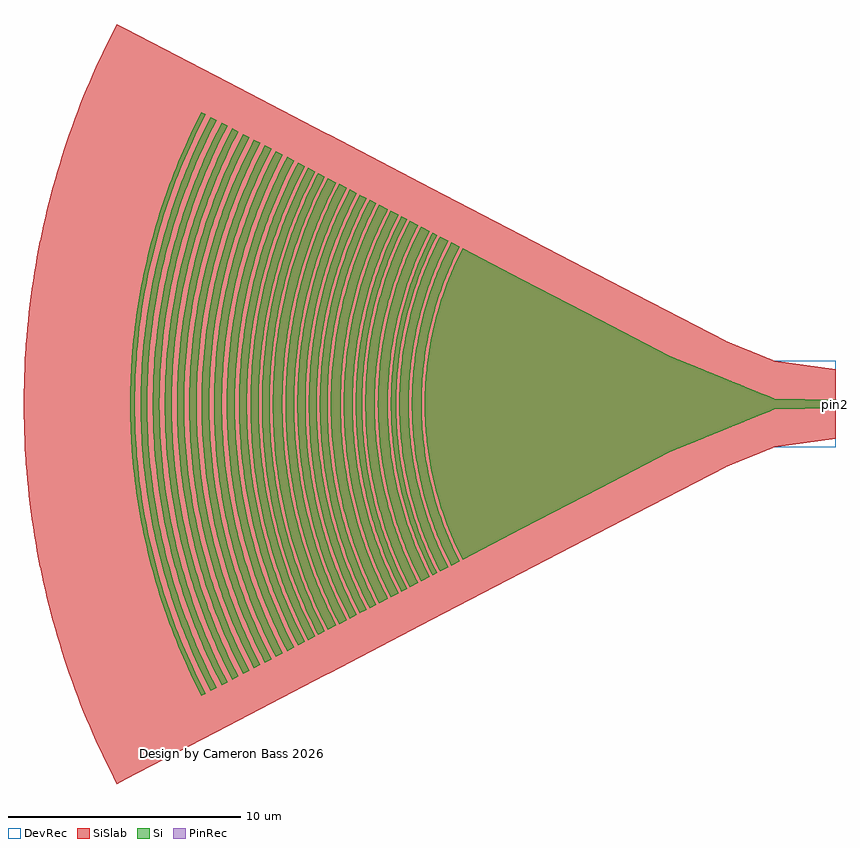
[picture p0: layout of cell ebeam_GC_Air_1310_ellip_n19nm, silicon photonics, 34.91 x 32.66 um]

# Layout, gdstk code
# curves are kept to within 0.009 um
import gdstk
lib = gdstk.Library(unit=1e-6, precision=1e-09)
def P(c, l, *ps):  # polygons
    for p in ps: c.add(gdstk.Polygon(p, *l))
Si = (1, 0)
PinRec = (1, 10)
SiSlab = (2, 0)
DevRec = (68, 0)

ebeam_gc_air_1310_ellip_ = lib.new_cell('ebeam_GC_Air_1310_ellip_n19nm')
P(ebeam_gc_air_1310_ellip_, Si, [(-16.04,-6.69),(-16.45,-5.832),(-16.766,-5.046),(-16.995,-4.378),(-17.26,-3.426),(-17.435,-2.598),(-17.562,-1.761),(-17.64,-0.917),(-17.668,-0.071),(-17.648,0.776),(-17.578,1.621),(-17.459,2.459),(-17.293,3.29),(-17.077,4.108),(-16.766,5.046),(-16.45,5.832),(-16.04,6.69),(-7.159,2.066),(-3.161,0.434),(-2.884,0.332),(-2.699,0.244),(-2.652,0.231),(0,0.175),(0,-0.175),(-2.665,-0.233),(-7.099,-2.039)],
  [(-16.532,-6.945),(-16.896,-6.191),(-17.232,-5.378),(-17.521,-4.547),(-17.761,-3.701),(-17.951,-2.842),(-18.091,-1.973),(-18.19,-0.953),(-18.22,-0.073),(-18.199,0.806),(-18.109,1.829),(-17.978,2.698),(-17.796,3.559),(-17.687,3.985),(-17.521,4.547),(-17.232,5.378),(-16.896,6.191),(-16.532,6.946),(-16.163,6.754),(-16.518,6.018),(-16.896,5.095),(-17.168,4.285),(-17.393,3.46),(-17.571,2.623),(-17.699,1.777),(-17.786,0.784),(-17.806,0.071),(-17.793,-0.641),(-17.731,-1.494),(-17.596,-2.482),(-17.427,-3.32),(-17.209,-4.147),(-16.896,-5.095),(-16.518,-6.018),(-16.163,-6.754)],
  [(-17.013,-7.196),(-17.39,-6.415),(-17.738,-5.573),(-18.037,-4.712),(-18.286,-3.835),(-18.51,-2.796),(-18.646,-1.895),(-18.73,-0.987),(-18.761,-0.076),(-18.739,0.835),(-18.664,1.744),(-18.607,2.196),(-18.51,2.796),(-18.322,3.688),(-18.082,4.566),(-17.791,5.431),(-17.451,6.277),(-17.013,7.196),(-16.654,7.01),(-17.081,6.113),(-17.413,5.29),(-17.696,4.448),(-17.93,3.591),(-18.114,2.723),(-18.247,1.845),(-18.328,0.961),(-18.358,0.074),(-18.337,-0.813),(-18.264,-1.698),(-18.14,-2.577),(-17.965,-3.447),(-17.696,-4.448),(-17.413,-5.29),(-17.081,-6.113),(-16.654,-7.01)],
  [(-17.333,-7.363),(-17.719,-6.563),(-18.075,-5.702),(-18.381,-4.821),(-18.636,-3.924),(-18.837,-3.013),(-18.918,-2.554),(-19.005,-1.939),(-19.091,-1.01),(-19.122,-0.078),(-19.1,0.855),(-19.005,1.939),(-18.865,2.861),(-18.673,3.774),(-18.427,4.673),(-18.13,5.556),(-17.962,5.992),(-17.719,6.564),(-17.333,7.363),(-17.136,7.26),(-17.577,6.332),(-17.921,5.479),(-18.214,4.608),(-18.381,4.018),(-18.526,3.422),(-18.698,2.519),(-18.818,1.607),(-18.877,0.843),(-18.899,0.077),(-18.877,-0.843),(-18.818,-1.607),(-18.722,-2.367),(-18.558,-3.272),(-18.3,-4.313),(-18.122,-4.9),(-17.973,-5.334),(-17.812,-5.765),(-17.577,-6.332),(-17.136,-7.26)],
  [(-17.829,-7.621),(-18.293,-6.646),(-18.653,-5.751),(-18.961,-4.836),(-19.215,-3.905),(-19.414,-2.96),(-19.558,-2.007),(-19.647,-1.045),(-19.68,-0.08),(-19.656,0.885),(-19.577,1.847),(-19.442,2.803),(-19.215,3.905),(-18.961,4.836),(-18.653,5.751),(-18.479,6.202),(-18.228,6.794),(-17.829,7.621),(-17.456,7.427),(-17.908,6.478),(-18.204,5.752),(-18.513,4.863),(-18.769,3.959),(-18.878,3.5),(-19.002,2.885),(-19.142,1.955),(-19.206,1.332),(-19.238,0.862),(-19.26,0.078),(-19.238,-0.862),(-19.16,-1.799),(-19.029,-2.731),(-18.843,-3.653),(-18.604,-4.563),(-18.416,-5.161),(-18.259,-5.605),(-17.908,-6.478),(-17.456,-7.427)],
  [(-18.309,-7.871),(-18.583,-7.318),(-18.789,-6.863),(-19.16,-5.939),(-19.479,-4.994),(-19.741,-4.032),(-19.946,-3.058),(-20.096,-2.072),(-20.187,-1.08),(-20.221,-0.083),(-20.197,0.914),(-20.115,1.907),(-20.003,2.73),(-19.78,3.872),(-19.617,4.516),(-19.479,4.994),(-19.16,5.939),(-18.789,6.864),(-18.583,7.318),(-18.309,7.871),(-17.953,7.686),(-18.355,6.851),(-18.548,6.404),(-18.784,5.8),(-19.094,4.878),(-19.35,3.938),(-19.552,2.985),(-19.697,2.023),(-19.787,1.054),(-19.82,0.081),(-19.796,-0.892),(-19.716,-1.862),(-19.58,-2.826),(-19.388,-3.78),(-19.141,-4.721),(-18.997,-5.187),(-18.784,-5.8),(-18.548,-6.403),(-18.355,-6.851),(-17.953,-7.686)],
  [(-18.671,-8.059),(-19.094,-7.182),(-19.484,-6.239),(-19.819,-5.275),(-20.011,-4.623),(-20.138,-4.128),(-20.348,-3.131),(-20.501,-2.121),(-20.595,-1.105),(-20.629,-0.085),(-20.605,0.935),(-20.521,1.953),(-20.378,2.963),(-20.25,3.631),(-20.138,4.128),(-19.869,5.114),(-19.658,5.76),(-19.484,6.239),(-19.094,7.182),(-18.671,8.059),(-18.432,7.936),(-18.708,7.377),(-18.915,6.92),(-19.172,6.301),(-19.348,5.83),(-19.511,5.355),(-19.705,4.714),(-19.835,4.229),(-19.987,3.576),(-20.166,2.587),(-20.271,1.756),(-20.336,0.921),(-20.36,0.084),(-20.336,-0.921),(-20.271,-1.756),(-20.166,-2.587),(-20.021,-3.412),(-19.915,-3.902),(-19.75,-4.552),(-19.562,-5.195),(-19.404,-5.672),(-19.172,-6.3),(-18.982,-6.765),(-18.708,-7.377),(-18.432,-7.935)],
  [(-19.129,-8.298),(-19.565,-7.395),(-19.839,-6.75),(-20.028,-6.26),(-20.363,-5.264),(-20.64,-4.25),(-20.856,-3.223),(-21.014,-2.184),(-21.11,-1.138),(-21.146,-0.088),(-21.136,0.613),(-21.11,1.138),(-21.014,2.184),(-20.856,3.223),(-20.64,4.251),(-20.363,5.264),(-20.028,6.26),(-19.636,7.235),(-19.419,7.713),(-19.129,8.298),(-18.795,8.124),(-19.221,7.24),(-19.49,6.608),(-19.674,6.129),(-20.002,5.154),(-20.273,4.161),(-20.486,3.155),(-20.64,2.138),(-20.734,1.114),(-20.769,0.086),(-20.744,-0.943),(-20.66,-1.968),(-20.516,-2.986),(-20.422,-3.492),(-20.273,-4.161),(-20.002,-5.154),(-19.674,-6.129),(-19.29,-7.083),(-19.078,-7.551),(-18.795,-8.124)],
  [(-19.628,-8.558),(-20.076,-7.628),(-20.49,-6.627),(-20.845,-5.603),(-21.141,-4.56),(-21.374,-3.502),(-21.547,-2.432),(-21.657,-1.354),(-21.688,-0.813),(-21.706,-0.09),(-21.68,0.993),(-21.59,2.074),(-21.439,3.147),(-21.303,3.856),(-21.184,4.386),(-20.899,5.43),(-20.675,6.118),(-20.49,6.627),(-20.076,7.628),(-19.628,8.558),(-19.253,8.363),(-19.544,7.773),(-19.763,7.291),(-20.097,6.474),(-20.277,5.976),(-20.496,5.306),(-20.732,4.455),(-20.961,3.422),(-21.13,2.376),(-21.208,1.675),(-21.249,1.146),(-21.285,0.088),(-21.28,-0.441),(-21.249,-1.146),(-21.152,-2.2),(-20.994,-3.247),(-20.774,-4.283),(-20.496,-5.305),(-20.334,-5.809),(-20.097,-6.474),(-19.763,-7.291),(-19.253,-8.363)],
  [(-20.043,-8.774),(-20.349,-8.155),(-20.579,-7.648),(-20.993,-6.618),(-21.347,-5.565),(-21.64,-4.494),(-21.869,-3.408),(-22.035,-2.309),(-22.137,-1.203),(-22.175,-0.093),(-22.148,1.018),(-22.057,2.125),(-21.987,2.676),(-21.869,3.408),(-21.64,4.495),(-21.347,5.566),(-20.993,6.618),(-20.579,7.649),(-20.349,8.155),(-20.043,8.774),(-19.755,8.624),(-20.28,7.52),(-20.492,7.016),(-20.75,6.335),(-20.982,5.646),(-21.138,5.122),(-21.279,4.595),(-21.444,3.886),(-21.61,2.991),(-21.733,2.089),(-21.823,1.001),(-21.849,0.091),(-21.839,-0.637),(-21.77,-1.727),(-21.665,-2.631),(-21.481,-3.707),(-21.365,-4.24),(-21.187,-4.947),(-20.982,-5.645),(-20.75,-6.335),(-20.492,-7.015),(-20.28,-7.519),(-20.054,-8.016),(-19.755,-8.624)],
  [(-20.463,-8.993),(-20.937,-8.011),(-21.163,-7.489),(-21.372,-6.959),(-21.745,-5.884),(-22.056,-4.789),(-22.226,-4.05),(-22.336,-3.491),(-22.506,-2.366),(-22.611,-1.233),(-22.65,-0.095),(-22.622,1.043),(-22.528,2.178),(-22.369,3.305),(-22.265,3.864),(-22.101,4.606),(-21.801,5.704),(-21.628,6.245),(-21.372,6.959),(-21.163,7.489),(-20.937,8.011),(-20.463,8.993),(-20.167,8.839),(-20.475,8.214),(-20.78,7.533),(-21.059,6.842),(-21.25,6.315),(-21.425,5.785),(-21.635,5.069),(-21.819,4.345),(-21.937,3.799),(-22.098,2.88),(-22.215,1.955),(-22.287,1.025),(-22.314,0.093),(-22.296,-0.839),(-22.233,-1.77),(-22.125,-2.696),(-21.937,-3.799),(-21.819,-4.345),(-21.635,-5.069),(-21.425,-5.785),(-21.25,-6.315),(-20.992,-7.015),(-20.78,-7.533),(-20.475,-8.214),(-20.167,-8.839)],
  [(-20.898,-9.219),(-21.385,-8.209),(-21.83,-7.132),(-22.03,-6.584),(-22.213,-6.03),(-22.532,-4.908),(-22.706,-4.15),(-22.819,-3.577),(-22.994,-2.425),(-23.101,-1.263),(-23.14,-0.097),(-23.135,0.486),(-23.101,1.263),(-22.994,2.425),(-22.819,3.578),(-22.578,4.72),(-22.271,5.845),(-21.899,6.95),(-21.464,8.032),(-21.222,8.563),(-20.898,9.219),(-20.591,9.059),(-20.909,8.415),(-21.221,7.718),(-21.507,7.009),(-21.703,6.47),(-21.883,5.926),(-22.098,5.193),(-22.286,4.451),(-22.407,3.892),(-22.572,2.951),(-22.692,2.003),(-22.766,1.051),(-22.794,0.096),(-22.775,-0.86),(-22.711,-1.813),(-22.6,-2.762),(-22.407,-3.892),(-22.286,-4.451),(-22.098,-5.193),(-21.883,-5.926),(-21.703,-6.47),(-21.507,-7.009),(-21.221,-7.717),(-20.909,-8.415),(-20.591,-9.059)],
  [(-21.349,-9.454),(-21.682,-8.782),(-21.929,-8.236),(-22.375,-7.127),(-22.757,-5.993),(-23.072,-4.839),(-23.319,-3.669),(-23.498,-2.487),(-23.608,-1.295),(-23.648,-0.1),(-23.643,0.498),(-23.608,1.296),(-23.498,2.487),(-23.319,3.669),(-23.072,4.84),(-22.757,5.994),(-22.375,7.128),(-21.929,8.237),(-21.682,8.782),(-21.349,9.454),(-21.021,9.283),(-21.263,8.799),(-21.59,8.088),(-21.818,7.546),(-22.096,6.814),(-22.346,6.072),(-22.514,5.509),(-22.712,4.752),(-22.883,3.988),(-23.052,3.024),(-23.175,2.052),(-23.251,1.076),(-23.279,0.098),(-23.26,-0.881),(-23.194,-1.858),(-23.081,-2.83),(-22.883,-3.987),(-22.712,-4.751),(-22.514,-5.509),(-22.346,-6.072),(-22.096,-6.814),(-21.818,-7.546),(-21.59,-8.088),(-21.347,-8.622),(-21.021,-9.283)],
  [(-21.837,-9.707),(-22.089,-9.204),(-22.431,-8.459),(-22.592,-8.083),(-22.889,-7.319),(-23.094,-6.741),(-23.281,-6.155),(-23.452,-5.565),(-23.605,-4.97),(-23.858,-3.768),(-23.959,-3.162),(-24.042,-2.554),(-24.155,-1.33),(-24.185,-0.716),(-24.196,-0.102),(-24.167,1.126),(-24.066,2.351),(-23.959,3.162),(-23.858,3.768),(-23.605,4.971),(-23.452,5.566),(-23.281,6.156),(-23.094,6.741),(-22.889,7.32),(-22.592,8.083),(-22.431,8.459),(-22.177,9.019),(-21.837,9.708),(-21.472,9.518),(-21.807,8.841),(-22.055,8.293),(-22.506,7.176),(-22.889,6.035),(-23.206,4.873),(-23.34,4.285),(-23.456,3.694),(-23.636,2.503),(-23.7,1.905),(-23.746,1.304),(-23.787,0.1),(-23.768,-0.903),(-23.7,-1.905),(-23.554,-3.1),(-23.38,-4.089),(-23.253,-4.677),(-23.056,-5.455),(-22.83,-6.226),(-22.641,-6.797),(-22.363,-7.551),(-22.135,-8.108),(-21.807,-8.841),(-21.472,-9.518)],
  [(-22.251,-9.923),(-22.774,-8.837),(-23.254,-7.677),(-23.468,-7.088),(-23.728,-6.291),(-24.059,-5.08),(-24.317,-3.852),(-24.42,-3.232),(-24.505,-2.61),(-24.621,-1.36),(-24.663,-0.105),(-24.657,0.524),(-24.633,1.151),(-24.53,2.402),(-24.451,3.025),(-24.354,3.646),(-24.239,4.263),(-24.059,5.08),(-23.728,6.292),(-23.536,6.89),(-23.254,7.677),(-23.022,8.262),(-22.774,8.838),(-22.251,9.923),(-21.96,9.772),(-22.302,9.078),(-22.557,8.516),(-22.873,7.754),(-23.09,7.174),(-23.29,6.59),(-23.529,5.801),(-23.689,5.204),(-23.876,4.4),(-23.995,3.793),(-24.096,3.183),(-24.225,2.161),(-24.305,1.133),(-24.335,0.103),(-24.305,-1.133),(-24.225,-2.161),(-24.096,-3.183),(-23.995,-3.793),(-23.876,-4.4),(-23.689,-5.204),(-23.529,-5.8),(-23.29,-6.589),(-23.09,-7.174),(-22.797,-7.945),(-22.557,-8.515),(-22.302,-9.078),(-21.96,-9.772)],
  [(-22.685,-10.149),(-22.951,-9.619),(-23.222,-9.036),(-23.476,-8.447),(-23.713,-7.85),(-23.932,-7.247),(-24.134,-6.637),(-24.376,-5.816),(-24.536,-5.194),(-24.677,-4.568),(-24.8,-3.939),(-24.906,-3.305),(-24.993,-2.669),(-25.061,-2.03),(-25.111,-1.39),(-25.142,-0.749),(-25.154,-0.107),(-25.148,0.536),(-25.123,1.177),(-25.08,1.817),(-25.018,2.456),(-24.937,3.093),(-24.838,3.728),(-24.677,4.568),(-24.536,5.194),(-24.376,5.816),(-24.197,6.433),(-24.001,7.045),(-23.788,7.65),(-23.557,8.249),(-23.309,8.841),(-22.951,9.619),(-22.685,10.149),(-22.377,9.989),(-22.728,9.278),(-22.989,8.703),(-23.312,7.924),(-23.533,7.332),(-23.802,6.534),(-23.982,5.928),(-24.146,5.318),(-24.337,4.497),(-24.529,3.462),(-24.672,2.418),(-24.763,1.368),(-24.794,0.738),(-24.806,0.105),(-24.786,-0.948),(-24.694,-2.208),(-24.562,-3.253),(-24.337,-4.497),(-24.146,-5.318),(-23.982,-5.928),(-23.802,-6.534),(-23.533,-7.332),(-23.312,-7.924),(-22.989,-8.703),(-22.728,-9.278),(-22.377,-9.989)],
  [(-23.117,-10.374),(-23.392,-9.826),(-23.669,-9.231),(-24.171,-8.019),(-24.395,-7.403),(-24.602,-6.78),(-24.79,-6.152),(-24.96,-5.518),(-25.063,-5.094),(-25.243,-4.238),(-25.357,-3.592),(-25.452,-2.943),(-25.528,-2.292),(-25.6,-1.42),(-25.632,-0.765),(-25.644,-0.109),(-25.638,0.547),(-25.613,1.202),(-25.568,1.857),(-25.505,2.509),(-25.422,3.16),(-25.283,4.024),(-25.012,5.307),(-24.848,5.942),(-24.666,6.572),(-24.466,7.197),(-24.248,7.815),(-23.758,9.031),(-23.487,9.629),(-23.117,10.374),(-22.825,10.223),(-23.186,9.49),(-23.453,8.902),(-23.784,8.106),(-24.01,7.5),(-24.285,6.684),(-24.47,6.064),(-24.637,5.44),(-24.833,4.6),(-25.03,3.541),(-25.123,2.902),(-25.198,2.259),(-25.281,1.185),(-25.313,0.108),(-25.292,-0.97),(-25.198,-2.259),(-25.03,-3.541),(-24.833,-4.6),(-24.637,-5.44),(-24.47,-6.064),(-24.285,-6.684),(-24.01,-7.5),(-23.784,-8.106),(-23.453,-8.902),(-23.186,-9.49),(-22.825,-10.222)],
  [(-23.586,-10.619),(-23.871,-10.051),(-24.155,-9.443),(-24.42,-8.827),(-24.668,-8.203),(-24.898,-7.573),(-25.109,-6.936),(-25.302,-6.293),(-25.476,-5.645),(-25.63,-4.992),(-25.806,-4.116),(-25.917,-3.453),(-26.008,-2.789),(-26.079,-2.121),(-26.131,-1.453),(-26.164,-0.782),(-26.177,-0.112),(-26.17,0.56),(-26.144,1.23),(-26.099,1.899),(-26.034,2.567),(-25.949,3.232),(-25.845,3.896),(-25.677,4.774),(-25.529,5.429),(-25.362,6.078),(-25.175,6.722),(-24.97,7.362),(-24.747,7.994),(-24.505,8.62),(-24.246,9.238),(-23.968,9.85),(-23.586,10.619),(-23.283,10.461),(-23.656,9.706),(-23.929,9.105),(-24.186,8.495),(-24.499,7.671),(-24.713,7.046),(-24.97,6.202),(-25.141,5.564),(-25.341,4.705),(-25.543,3.621),(-25.692,2.529),(-25.755,1.872),(-25.8,1.212),(-25.832,0.11),(-25.811,-0.992),(-25.773,-1.651),(-25.715,-2.31),(-25.577,-3.404),(-25.341,-4.705),(-25.141,-5.564),(-24.97,-6.202),(-24.713,-7.045),(-24.499,-7.67),(-24.186,-8.495),(-23.929,-9.105),(-23.656,-9.706),(-23.283,-10.461)],
  [(-24.069,-10.87),(-24.364,-10.283),(-24.654,-9.66),(-24.926,-9.03),(-25.18,-8.392),(-25.415,-7.748),(-25.699,-6.877),(-25.89,-6.218),(-26.061,-5.553),(-26.212,-4.884),(-26.345,-4.211),(-26.458,-3.533),(-26.551,-2.853),(-26.624,-2.17),(-26.677,-1.486),(-26.711,-0.8),(-26.724,-0.114),(-26.717,0.573),(-26.691,1.258),(-26.644,1.943),(-26.551,2.854),(-26.458,3.533),(-26.345,4.211),(-26.212,4.884),(-26.061,5.554),(-25.89,6.218),(-25.699,6.878),(-25.415,7.748),(-25.18,8.392),(-24.926,9.031),(-24.654,9.66),(-24.364,10.283),(-24.069,10.87),(-23.771,10.715),(-24.345,9.526),(-24.614,8.904),(-24.943,8.065),(-25.239,7.212),(-25.44,6.565),(-25.621,5.914),(-25.835,5.036),(-25.971,4.374),(-26.089,3.707),(-26.242,2.589),(-26.34,1.465),(-26.373,0.79),(-26.386,0.113),(-26.364,-1.015),(-26.266,-2.365),(-26.124,-3.484),(-26.013,-4.151),(-25.882,-4.816),(-25.732,-5.476),(-25.502,-6.348),(-25.308,-6.997),(-25.02,-7.852),(-24.783,-8.486),(-24.436,-9.32),(-24.059,-10.139),(-23.771,-10.715)],
  [(-24.539,-11.115),(-24.843,-10.511),(-25.14,-9.874),(-25.418,-9.23),(-25.677,-8.578),(-25.918,-7.919),(-26.139,-7.253),(-26.403,-6.356),(-26.579,-5.676),(-26.733,-4.992),(-26.869,-4.304),(-26.984,-3.611),(-27.079,-2.917),(-27.154,-2.218),(-27.209,-1.519),(-27.243,-0.818),(-27.256,-0.117),(-27.243,0.818),(-27.209,1.52),(-27.154,2.219),(-27.079,2.917),(-26.984,3.611),(-26.869,4.304),(-26.733,4.992),(-26.579,5.676),(-26.403,6.356),(-26.139,7.253),(-25.918,7.919),(-25.677,8.578),(-25.419,9.231),(-25.14,9.874),(-24.843,10.511),(-24.539,11.115),(-24.252,10.966),(-24.65,10.163),(-24.937,9.533),(-25.206,8.894),(-25.534,8.031),(-25.829,7.157),(-26.027,6.494),(-26.207,5.825),(-26.416,4.926),(-26.628,3.792),(-26.784,2.648),(-26.885,1.499),(-26.918,0.808),(-26.931,0.115),(-26.925,-0.576),(-26.898,-1.269),(-26.808,-2.419),(-26.728,-3.106),(-26.628,-3.792),(-26.416,-4.926),(-26.207,-5.825),(-26.027,-6.493),(-25.829,-7.157),(-25.534,-8.031),(-25.206,-8.894),(-24.937,-9.533),(-24.65,-10.163),(-24.252,-10.966)],
  [(-25.012,-11.361),(-25.324,-10.741),(-25.628,-10.091),(-25.911,-9.433),(-26.177,-8.766),(-26.422,-8.093),(-26.648,-7.412),(-26.855,-6.725),(-27.041,-6.032),(-27.256,-5.101),(-27.395,-4.398),(-27.512,-3.69),(-27.61,-2.981),(-27.686,-2.267),(-27.742,-1.553),(-27.777,-0.836),(-27.791,-0.12),(-27.784,0.597),(-27.756,1.314),(-27.707,2.029),(-27.638,2.743),(-27.547,3.454),(-27.395,4.398),(-27.256,5.102),(-27.098,5.801),(-26.919,6.495),(-26.719,7.184),(-26.5,7.867),(-26.177,8.766),(-25.911,9.433),(-25.628,10.091),(-25.324,10.741),(-25.012,11.361),(-24.732,11.216),(-25.141,10.391),(-25.434,9.747),(-25.709,9.094),(-25.964,8.435),(-26.2,7.767),(-26.484,6.866),(-26.674,6.185),(-26.897,5.267),(-27.125,4.11),(-27.234,3.411),(-27.323,2.708),(-27.392,2.004),(-27.44,1.297),(-27.474,0.118),(-27.467,-0.589),(-27.44,-1.297),(-27.348,-2.473),(-27.2,-3.644),(-27.084,-4.342),(-26.947,-5.037),(-26.733,-5.956),(-26.549,-6.639),(-26.274,-7.543),(-26.045,-8.212),(-25.709,-9.094),(-25.434,-9.747),(-25.141,-10.391),(-24.732,-11.215)],
  [(-25.474,-11.601),(-25.793,-10.967),(-26.103,-10.303),(-26.392,-9.631),(-26.663,-8.95),(-26.914,-8.263),(-27.145,-7.568),(-27.356,-6.867),(-27.546,-6.159),(-27.766,-5.209),(-27.907,-4.49),(-28.028,-3.768),(-28.127,-3.043),(-28.205,-2.315),(-28.262,-1.585),(-28.297,-0.854),(-28.312,-0.122),(-28.297,0.854),(-28.262,1.585),(-28.205,2.315),(-28.127,3.043),(-28.028,3.768),(-27.907,4.491),(-27.766,5.209),(-27.604,5.923),(-27.421,6.632),(-27.218,7.334),(-26.994,8.032),(-26.749,8.722),(-26.485,9.405),(-26.202,10.08),(-25.793,10.967),(-25.474,11.601),(-25.206,11.462),(-25.625,10.618),(-25.924,9.96),(-26.205,9.293),(-26.466,8.619),(-26.783,7.707),(-26.997,7.016),(-27.192,6.32),(-27.42,5.382),(-27.566,4.674),(-27.692,3.962),(-27.855,2.767),(-27.925,2.048),(-27.974,1.326),(-28.009,0.121),(-27.986,-1.085),(-27.944,-1.806),(-27.881,-2.527),(-27.797,-3.245),(-27.692,-3.961),(-27.566,-4.673),(-27.42,-5.382),(-27.192,-6.319),(-26.997,-7.016),(-26.783,-7.707),(-26.549,-8.391),(-26.295,-9.069),(-25.924,-9.96),(-25.625,-10.618),(-25.206,-11.462)],
  [(-25.939,-11.843),(-26.265,-11.195),(-26.582,-10.517),(-26.877,-9.832),(-27.154,-9.137),(-27.41,-8.435),(-27.646,-7.725),(-27.861,-7.01),(-28.055,-6.287),(-28.279,-5.317),(-28.424,-4.583),(-28.546,-3.846),(-28.648,-3.106),(-28.728,-2.363),(-28.786,-1.618),(-28.822,-0.871),(-28.836,-0.125),(-28.822,0.871),(-28.786,1.618),(-28.728,2.363),(-28.648,3.107),(-28.546,3.847),(-28.424,4.583),(-28.279,5.317),(-28.114,6.046),(-27.928,6.77),(-27.72,7.487),(-27.491,8.199),(-27.242,8.903),(-26.972,9.601),(-26.582,10.517),(-26.265,11.195),(-25.939,11.844),(-25.676,11.707),(-25.998,11.066),(-26.41,10.172),(-26.697,9.49),(-26.964,8.802),(-27.21,8.105),(-27.506,7.165),(-27.766,6.216),(-27.937,5.496),(-28.175,4.288),(-28.289,3.559),(-28.382,2.826),(-28.454,2.091),(-28.504,1.354),(-28.54,0.123),(-28.532,-0.615),(-28.504,-1.354),(-28.408,-2.581),(-28.253,-3.802),(-28.132,-4.53),(-27.99,-5.256),(-27.766,-6.215),(-27.575,-6.928),(-27.287,-7.871),(-27.048,-8.569),(-26.697,-9.49),(-26.41,-10.171),(-25.998,-11.065),(-25.676,-11.707)],
  [(-26.398,-12.082),(-26.731,-11.42),(-27.054,-10.729),(-27.355,-10.029),(-27.637,-9.32),(-27.899,-8.604),(-28.139,-7.88),(-28.358,-7.15),(-28.556,-6.414),(-28.785,-5.424),(-28.933,-4.675),(-29.058,-3.924),(-29.161,-3.169),(-29.243,-2.41),(-29.302,-1.651),(-29.339,-0.889),(-29.354,-0.127),(-29.346,0.636),(-29.317,1.397),(-29.265,2.158),(-29.191,2.917),(-29.095,3.672),(-28.977,4.426),(-28.837,5.175),(-28.617,6.168),(-28.427,6.906),(-28.215,7.638),(-27.981,8.364),(-27.727,9.082),(-27.452,9.794),(-27.054,10.729),(-26.731,11.42),(-26.398,12.082),(-26.145,11.951),(-26.583,11.069),(-26.895,10.383),(-27.281,9.454),(-27.546,8.749),(-27.79,8.035),(-28.084,7.073),(-28.279,6.345),(-28.454,5.611),(-28.607,4.873),(-28.738,4.13),(-28.908,2.885),(-29.018,1.633),(-29.054,0.88),(-29.069,0.126),(-29.061,-0.628),(-29.032,-1.382),(-28.935,-2.635),(-28.847,-3.383),(-28.738,-4.13),(-28.607,-4.873),(-28.454,-5.611),(-28.279,-6.345),(-28.014,-7.314),(-27.711,-8.273),(-27.46,-8.984),(-27.188,-9.687),(-26.895,-10.383),(-26.583,-11.069),(-26.145,-11.951)],
  [(-26.868,-12.327),(-27.313,-11.431),(-27.635,-10.722),(-27.936,-10.004),(-28.217,-9.277),(-28.476,-8.544),(-28.714,-7.802),(-28.93,-7.054),(-29.125,-6.299),(-29.296,-5.54),(-29.446,-4.777),(-29.574,-4.008),(-29.68,-3.237),(-29.762,-2.462),(-29.823,-1.686),(-29.861,-0.908),(-29.876,-0.13),(-29.861,0.908),(-29.823,1.686),(-29.762,2.462),(-29.68,3.237),(-29.574,4.008),(-29.446,4.777),(-29.296,5.541),(-29.125,6.299),(-28.93,7.054),(-28.714,7.802),(-28.476,8.544),(-28.217,9.278),(-27.936,10.004),(-27.635,10.722),(-27.313,11.431),(-26.868,12.328),(-26.612,12.195),(-27.059,11.294),(-27.378,10.594),(-27.677,9.884),(-27.954,9.167),(-28.211,8.441),(-28.519,7.462),(-28.726,6.722),(-28.968,5.725),(-29.216,4.466),(-29.335,3.707),(-29.432,2.943),(-29.506,2.178),(-29.558,1.41),(-29.596,0.128),(-29.571,-1.154),(-29.526,-1.921),(-29.459,-2.688),(-29.298,-3.96),(-29.171,-4.719),(-29.023,-5.474),(-28.79,-6.473),(-28.59,-7.216),(-28.37,-7.954),(-28.042,-8.925),(-27.772,-9.646),(-27.378,-10.594),(-27.059,-11.294),(-26.612,-12.194)],
  [(-27.266,-12.535),(-27.612,-11.845),(-27.947,-11.128),(-28.259,-10.403),(-28.551,-9.667),(-28.808,-8.966),(-29.071,-8.174),(-29.298,-7.417),(-29.503,-6.653),(-29.795,-5.368),(-29.939,-4.591),(-30.097,-3.548),(-30.214,-2.5),(-30.27,-1.793),(-30.314,-0.922),(-30.329,-0.132),(-30.321,0.659),(-30.291,1.449),(-30.237,2.238),(-30.13,3.287),(-30.023,4.07),(-29.893,4.85),(-29.795,5.368),(-29.566,6.398),(-29.369,7.163),(-29.149,7.923),(-28.908,8.676),(-28.644,9.421),(-28.359,10.159),(-27.947,11.129),(-27.612,11.846),(-27.266,12.535),(-27.091,12.444),(-27.539,11.538),(-27.864,10.823),(-28.266,9.855),(-28.542,9.118),(-28.876,8.126),(-29.102,7.372),(-29.305,6.614),(-29.487,5.849),(-29.646,5.079),(-29.782,4.305),(-29.959,3.007),(-30.074,1.702),(-30.112,0.917),(-30.127,0.131),(-30.102,-1.179),(-30.056,-1.963),(-29.987,-2.746),(-29.896,-3.526),(-29.782,-4.305),(-29.646,-5.079),(-29.487,-5.848),(-29.305,-6.614),(-29.102,-7.372),(-28.876,-8.126),(-28.542,-9.118),(-28.266,-9.855),(-27.864,-10.823),(-27.539,-11.538),(-27.091,-12.444)])
P(ebeam_gc_air_1310_ellip_, SiSlab, [(-30.904,-16.329),(-31.366,-15.41),(-31.801,-14.477),(-32.208,-13.533),(-32.588,-12.577),(-32.94,-11.61),(-33.264,-10.634),(-33.559,-9.648),(-33.825,-8.655),(-34.062,-7.654),(-34.27,-6.647),(-34.449,-5.634),(-34.598,-4.616),(-34.717,-3.594),(-34.807,-2.569),(-34.867,-1.543),(-34.9,-0.171),(-34.89,0.857),(-34.85,1.885),(-34.781,2.912),(-34.681,3.935),(-34.552,4.956),(-34.393,5.972),(-34.135,7.319),(-33.907,8.322),(-33.651,9.318),(-33.365,10.307),(-33.051,11.286),(-32.709,12.256),(-32.338,13.216),(-31.94,14.164),(-31.366,15.41),(-30.904,16.329),(-4.744,2.708),(-2.65,1.855),(0,1.5),(0,-1.5),(-2.65,-1.855),(-4.728,-2.7)])
P(ebeam_gc_air_1310_ellip_, DevRec, [(-30.904,-16.329),(-31.366,-15.41),(-31.801,-14.477),(-32.208,-13.533),(-32.588,-12.577),(-32.94,-11.61),(-33.264,-10.634),(-33.559,-9.648),(-33.825,-8.655),(-34.062,-7.654),(-34.27,-6.647),(-34.449,-5.634),(-34.598,-4.616),(-34.717,-3.594),(-34.807,-2.569),(-34.867,-1.543),(-34.9,-0.171),(-34.89,0.857),(-34.85,1.885),(-34.781,2.912),(-34.681,3.935),(-34.552,4.956),(-34.393,5.972),(-34.135,7.319),(-33.907,8.322),(-33.651,9.318),(-33.365,10.307),(-33.051,11.286),(-32.709,12.256),(-32.338,13.216),(-31.94,14.164),(-31.366,15.41),(-30.904,16.329),(-4.744,2.708),(-2.65,1.855),(0,1.855),(0,-1.855),(-2.65,-1.855),(-4.728,-2.7)])
ebeam_gc_air_1310_ellip_.add(gdstk.FlexPath([(-0.01,0),(0.01,0)], 0.35, ends="flush", simple_path=True, layer=1, datatype=10))  # PinRec
ebeam_gc_air_1310_ellip_.add(gdstk.Label('pin2', (0,0), layer=1, texttype=10))
ebeam_gc_air_1310_ellip_.add(gdstk.Label('Design by Cameron Bass 2026', (-25.94,-15.02), layer=10, texttype=0))

lib.write_gds('ebeam_GC_Air_1310_ellip_n19nm.gds')
